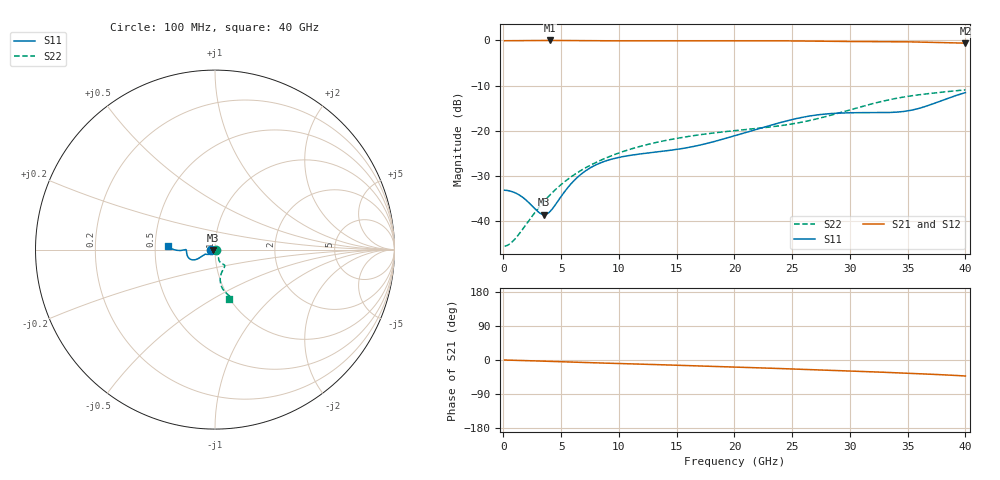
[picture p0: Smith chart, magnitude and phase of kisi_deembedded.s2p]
! X_s8x4_L1L3_bd_d200: kisi-fdtd, de-embedded with the 2×thru
# Hz S RI R 50
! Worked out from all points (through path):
!   400 points, 100 MHz to 40 GHz, reference 50 ohm
!   highest |S21| = 0.00 dB at 4 GHz (marker M1); lowest = -0.6 dB at 40 GHz (marker M2)
!   group delay of S21, straight-line fit = 2.83 ps
!   lowest |S11| = -38.5 dB at 3.5 GHz (marker M3), VSWR 1.02, Z = 48.9 - j0.241 ohm
!   |S11| at or under -10 dB: start of sweep to end of sweep
!   |S22| runs from -45.5 to -10.9 dB; largest |S21 - S12| = 0.0093
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1e8  -0.0221 0.000356  0.9933 -0.00131  0.9951 -0.00142  0.00531 -0.000199
5e8  -0.0217 0.00172  0.9935 -0.00661  0.9952 -0.00714  0.00548 -0.00101
1e9  -0.0205 0.00309  0.9942 -0.0134  0.9957 -0.0144  0.00601 -0.00212
1.8e9  -0.0174 0.0038  0.996 -0.0253  0.9968 -0.0268  0.00747 -0.00434
3.1e9  -0.0125 -0.000108  0.9984 -0.0475  0.998 -0.049  0.0107 -0.0096
3.5e9  -0.0116 -0.00246  0.9986 -0.0549  0.9978 -0.0562  0.0117 -0.0116
4e9  -0.0112 -0.00591  0.9983 -0.0643  0.9972 -0.0653  0.0129 -0.0145
5.7e9  -0.0166 -0.0183  0.9936 -0.095  0.9923 -0.0947  0.016 -0.0254
6.8e9  -0.0239 -0.0239  0.989 -0.1126  0.9882 -0.1117  0.0172 -0.0329
7.9e9  -0.0318 -0.0266  0.9847 -0.1287  0.9847 -0.1276  0.0181 -0.0402
9.2e9  -0.0397 -0.027  0.9808 -0.147  0.9814 -0.1463  0.0193 -0.0485
1.12e10  -0.0476 -0.0258  0.976 -0.1766  0.9768 -0.1768  0.0224 -0.0599
1.34e10  -0.053 -0.0254  0.9689 -0.2111  0.9689 -0.2119  0.0282 -0.0698
1.66e10  -0.061 -0.0297  0.9547 -0.2604  0.954 -0.2603  0.0409 -0.0791
2.01e10  -0.0787 -0.0415  0.9387 -0.3138  0.9389 -0.3131  0.0529 -0.0859
2.4e10  -0.1103 -0.0563  0.9146 -0.3811  0.9152 -0.3818  0.0498 -0.1028
2.67e10  -0.1373 -0.0535  0.8866 -0.4267  0.8859 -0.4275  0.0376 -0.1264
2.92e10  -0.1536 -0.0349  0.8592 -0.4626  0.8579 -0.4621  0.0293 -0.1571
3.34e10  -0.1598 -0.00155  0.8151 -0.5283  0.8172 -0.5269  0.0418 -0.217
3.58e10  -0.1749 -0.00269  0.7775 -0.5656  0.7806 -0.5679  0.0615 -0.2414
3.8e10  -0.2176 -0.00286  0.737 -0.5957  0.7357 -0.6015  0.0789 -0.2565
4e10  -0.2644 0.0179  0.6911 -0.6282  0.6823 -0.631  0.0772 -0.2736
